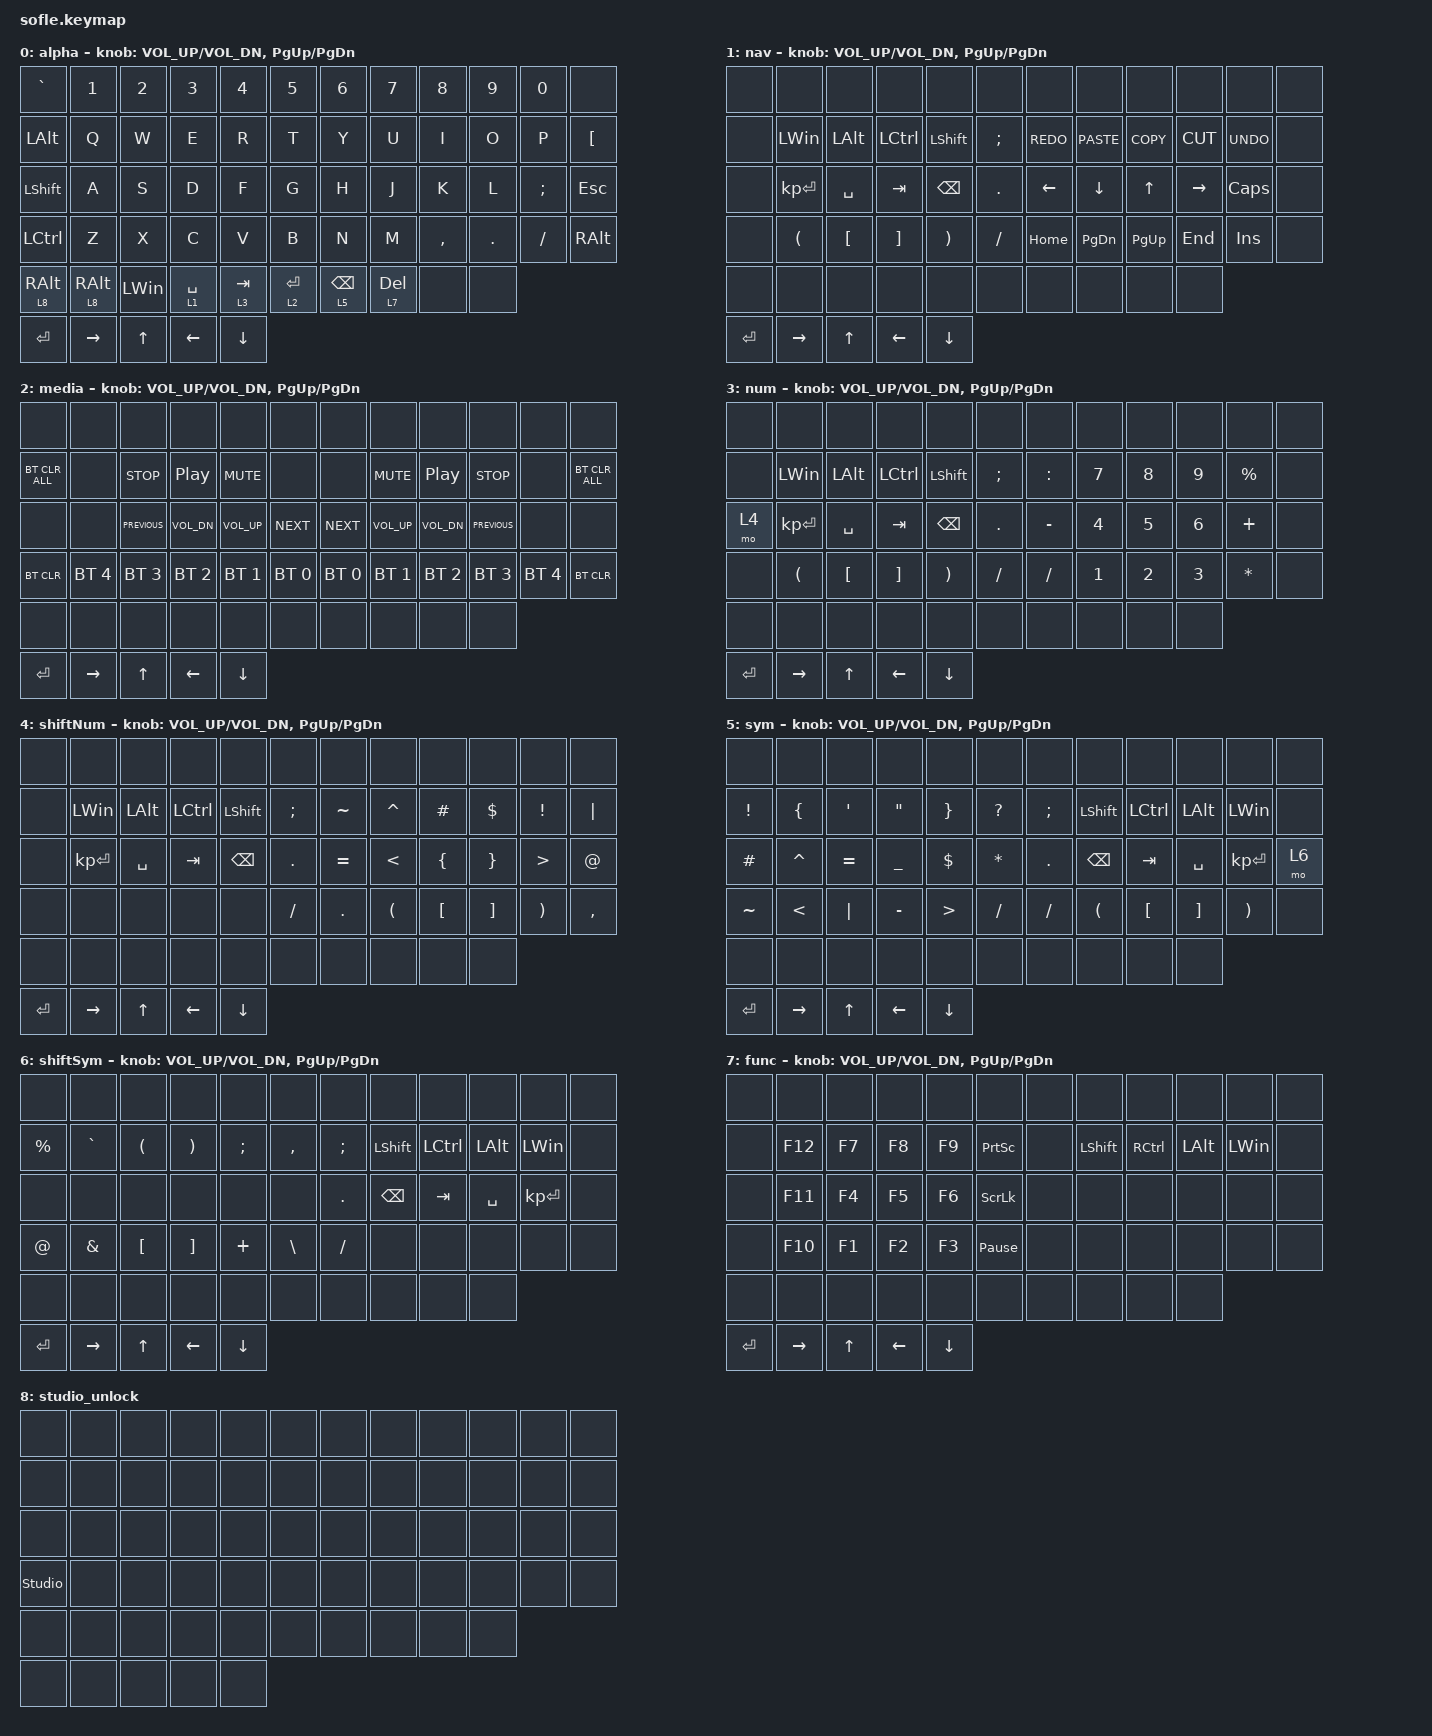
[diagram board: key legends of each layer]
/*
 * Copyright (c) 2020 The ZMK Contributors
 *
 * SPDX-License-Identifier: MIT
 */

#include <behaviors.dtsi>
#include <dt-bindings/zmk/bt.h>
#include <dt-bindings/zmk/ext_power.h>
#include <dt-bindings/zmk/keys.h>
#include <dt-bindings/zmk/rgb.h>

#define BASE 0
#define LOWER 1
#define RAISE 2
#define ADJUST 3

/ {
    // Activate ADJUST layer by pressing raise and lower

    conditional_layers {
        compatible = "zmk,conditional-layers";

        adjust_layer {
            if-layers = <LOWER RAISE>;
            then-layer = <ADJUST>;
        };
    };

    keymap {
        compatible = "zmk,keymap";

        default_layer {
            label = "alpha";

            // ------------------------------------------------------------------------------------------------------------
            // |   `   |  1  |  2  |  3   |  4   |  5   |                   |  6   |  7    |  8    |  9   |   0   |       |
            // |  ESC  |  Q  |  W  |  E   |  R   |  T   |                   |  Y   |  U    |  I    |  O   |   P   | BKSPC |
            // |  TAB  |  A  |  S  |  D   |  F   |  G   |                   |  H   |  J    |  K    |  L   |   ;   |   '   |
            // | SHIFT |  Z  |  X  |  C   |  V   |  B   |  MUTE  |  |       |  N   |  M    |  ,    |  .   |   /   | SHIFT |
            //               | GUI | ALT  | CTRL | LOWER|  ENTER |  | SPACE | RAISE| CTRL  | ALT   | GUI  |

            bindings = <
&kp GRAVE   &kp N1    &kp N2    &kp N3     &kp N4     &kp N5          &kp N6     &kp N7     &kp N8        &kp N9    &kp N0    &none
&kp LEFT_ALT    &kp Q  &kp W  &kp E         &kp R        &kp T        &kp Y        &kp U            &kp I         &kp O    &kp P     &kp LEFT_BRACKET
&kp LEFT_SHIFT  &kp A  &kp S  &kp D         &kp F        &kp G        &kp H        &kp J            &kp K         &kp L    &kp SEMI  &kp ESCAPE
&kp LCTRL       &kp Z  &kp X  &kp C         &kp V        &kp B        &kp N        &kp M            &kp COMMA     &kp DOT  &kp FSLH  &kp RIGHT_ALT
                &lt 8 RIGHT_ALT  &lt 8 RIGHT_ALT  &kp LEFT_WIN  &lt 1 SPACE  &lt 3 TAB    &lt 2 ENTER  &lt 5 BACKSPACE  &lt 7 DELETE  &none    &none
                                                                      &kp ENTER  &kp RIGHT  &kp UP_ARROW  &kp LEFT  &kp DOWN
            >;
            sensor-bindings = <&inc_dec_kp C_VOL_UP C_VOL_DN &inc_dec_kp PG_UP PG_DN>;
        };

        nav {
            label = "nav";

            // TODO: Some binds are waiting for shifted keycode support.
            // ------------------------------------------------------------------------------------------------------------
            // |       |  F1 |  F2 |  F3  |  F4  |  F5  |                   |  F6  |  F7   |  F8   |  F9  |  F10  |  F11  |
            // |   `   |  1  |  2  |  3   |  4   |  5   |                   |  6   |  7    |  8    |  9   |   0   |  F12  |
            // |       |  !  |  @  |  #   |  $   |  %   |                   |  ^   |  &    |  *    |  (   |   )   |   |   |
            // |       |  =  |  -  |  +   |  {   |  }   |        |  |       |  [   |  ]    |  ;    |  :   |   \   |       |
            //               |     |      |      |      |        |  |       |      |       |       |      |

            bindings = <
&none     &none     &none     &none    &none    &none     &none     &none    &none     &none     &none   &none
&none  &kp LEFT_WIN          &kp LEFT_ALT      &kp LCTRL          &kp LEFT_SHIFT         &kp SEMICOLON    &kp K_REDO  &kp K_PASTE     &kp K_COPY    &kp K_CUT        &kp K_UNDO    &none
&none  &kp KP_ENTER          &kp SPACE         &kp TAB            &kp BACKSPACE          &kp PERIOD       &kp LEFT    &kp DOWN_ARROW  &kp UP_ARROW  &kp RIGHT_ARROW  &kp CAPSLOCK  &none
&none  &kp LEFT_PARENTHESIS  &kp LEFT_BRACKET  &kp RIGHT_BRACKET  &kp RIGHT_PARENTHESIS  &kp SLASH        &kp HOME    &kp PAGE_DOWN   &kp PAGE_UP   &kp END          &kp INSERT    &none
&none     &none     &none     &none    &none    &none     &none     &none    &none     &none     
                                                &kp ENTER  &kp RIGHT  &kp UP_ARROW  &kp LEFT  &kp DOWN
            >;

            sensor-bindings = <&inc_dec_kp C_VOL_UP C_VOL_DN &inc_dec_kp PG_UP PG_DN>;
        };

        media {
            label = "media";

            // ------------------------------------------------------------------------------------------------------------
            // | BTCLR | BT1  | BT2  |  BT3  |  BT4  |  BT5 |                |      |      |       |      |       |       |
            // |       | INS  | PSCR | GUI   |       |      |                | PGUP |      |   ^   |      |       |       |
            // |       | ALT  | CTRL | SHIFT |       | CAPS |                | PGDN |   <- |   v   |  ->  |  DEL  | BKSPC |
            // |       | UNDO | CUT  | COPY  | PASTE |      |      |  |      |      |      |       |      |       |       |
            //                |      |       |       |      |      |  |      |      |      |       |      |

            bindings = <
&none  &none  &none &none  &none  &none  &none     &none &none &none &none &none
&bt BT_CLR_ALL  &none         &kp C_STOP      &kp C_PLAY_PAUSE  &kp C_MUTE       &none           &none         &kp C_MUTE    &kp C_PLAY_PAUSE  &kp C_STOP      &none         &bt BT_CLR_ALL
&none           &none         &kp C_PREVIOUS  &kp C_VOL_DN      &kp C_VOLUME_UP  &kp C_NEXT      &kp C_NEXT    &kp C_VOLUME_UP  &kp C_VOL_DN   &kp C_PREVIOUS  &none         &none
&bt BT_CLR      &bt BT_SEL 4  &bt BT_SEL 3    &bt BT_SEL 2      &bt BT_SEL 1     &bt BT_SEL 0    &bt BT_SEL 0  &bt BT_SEL 1  &bt BT_SEL 2      &bt BT_SEL 3    &bt BT_SEL 4  &bt BT_CLR
&none &none &none &none &none &none &none &none &none &none
                  &kp ENTER  &kp RIGHT  &kp UP_ARROW  &kp LEFT  &kp DOWN
            >;

            sensor-bindings = <&inc_dec_kp C_VOL_UP C_VOL_DN &inc_dec_kp PG_UP PG_DN>;
        };

        num {
            // ----------------------------------------------------------------------------------------------------------------------------
            // | BTCLR  |  BT1    |  BT2    |   BT3   |   BT4   |   BT5   |                  |      |      |       |      |       |       |
            // | EXTPWR | RGB_HUD | RGB_HUI | RGB_SAD | RGB_SAI | RGB_EFF |                  |      |      |       |      |       |       |
            // |        | RGB_BRD | RGB_BRI |         |         |         |                  |      |      |       |      |       |       |
            // |        |         |         |         |         |         | RGB_TOG | |      |      |      |       |      |       |       |
            //                    |         |         |         |         |         | |      |      |      |       |      |

            label = "num";
            bindings = <
&none &none &none &none &none &none &none &none &none &none &none &none
&none  &kp LEFT_WIN          &kp LEFT_ALT      &kp LCTRL          &kp LEFT_SHIFT         &kp SEMICOLON    &kp COLON  &kp NUMBER_7  &kp NUMBER_8  &kp NUMBER_9  &kp PERCENT   &none
&mo 4  &kp KP_ENTER          &kp SPACE         &kp TAB            &kp BACKSPACE          &kp PERIOD       &kp MINUS  &kp NUMBER_4  &kp NUMBER_5  &kp NUMBER_6  &kp PLUS      &none
&none  &kp LEFT_PARENTHESIS  &kp LEFT_BRACKET  &kp RIGHT_BRACKET  &kp RIGHT_PARENTHESIS  &kp SLASH        &kp SLASH  &kp NUMBER_1  &kp NUMBER_2  &kp NUMBER_3  &kp ASTERISK  &none
&none &none &none &none &none &none &none &none &none &none
&kp ENTER  &kp RIGHT  &kp UP_ARROW  &kp LEFT  &kp DOWN
            >;
            sensor-bindings = <&inc_dec_kp C_VOL_UP C_VOL_DN &inc_dec_kp PG_UP PG_DN>;
        };
        shiftNum {
            bindings = <
&none &none &none &none &none &none &none &none &none &none &none &none
&none  &kp LEFT_WIN  &kp LEFT_ALT  &kp LCTRL  &kp LEFT_SHIFT  &kp SEMICOLON    &kp TILDE   &kp CARET             &kp HASH          &kp DOLLAR         &kp EXCLAMATION        &kp PIPE
&none  &kp KP_ENTER  &kp SPACE     &kp TAB    &kp BACKSPACE   &kp PERIOD       &kp EQUAL   &kp LESS_THAN         &kp LEFT_BRACE    &kp RIGHT_BRACE    &kp GREATER_THAN       &kp AT_SIGN
&none  &none         &none         &none      &none           &kp SLASH        &kp PERIOD  &kp LEFT_PARENTHESIS  &kp LEFT_BRACKET  &kp RIGHT_BRACKET  &kp RIGHT_PARENTHESIS  &kp COMMA
&none &none &none &none &none &none &none &none &none &none
&kp ENTER  &kp RIGHT  &kp UP_ARROW  &kp LEFT  &kp DOWN
            >;
            sensor-bindings = <&inc_dec_kp C_VOL_UP C_VOL_DN &inc_dec_kp PG_UP PG_DN>;
        };

        sym {
            bindings = <
&none &none &none &none &none &none &none &none &none &none &none &none
&kp EXCLAMATION  &kp LEFT_BRACE  &kp SQT    &kp DOUBLE_QUOTES  &kp RIGHT_BRACE   &kp QUESTION    &kp SEMICOLON  &kp LEFT_SHIFT        &kp LCTRL         &kp LEFT_ALT       &kp LEFT_WIN           &none
&kp HASH         &kp CARET       &kp EQUAL  &kp UNDERSCORE     &kp DOLLAR        &kp ASTERISK    &kp PERIOD     &kp BACKSPACE         &kp TAB           &kp SPACE          &kp KP_ENTER           &mo 6
&kp TILDE        &kp LESS_THAN   &kp PIPE   &kp MINUS          &kp GREATER_THAN  &kp SLASH       &kp SLASH      &kp LEFT_PARENTHESIS  &kp LEFT_BRACKET  &kp RIGHT_BRACKET  &kp RIGHT_PARENTHESIS  &none
&none &none &none &none &none &none &none &none &none &none
&kp ENTER  &kp RIGHT  &kp UP_ARROW  &kp LEFT  &kp DOWN
            >;
            sensor-bindings = <&inc_dec_kp C_VOL_UP C_VOL_DN &inc_dec_kp PG_UP PG_DN>;
        };

        shiftSym {
            bindings = <
&none &none &none &none &none &none &none &none &none &none &none &none
&kp PERCENT  &kp GRAVE      &kp LEFT_PARENTHESIS  &kp RIGHT_PARENTHESIS  &kp SEMICOLON  &kp COMMA        &kp SEMICOLON  &kp LEFT_SHIFT  &kp LCTRL  &kp LEFT_ALT  &kp LEFT_WIN  &none
&none        &none          &none                 &none                  &none          &none            &kp PERIOD     &kp BACKSPACE   &kp TAB    &kp SPACE     &kp KP_ENTER  &none
&kp AT_SIGN  &kp AMPERSAND  &kp LEFT_BRACKET      &kp RIGHT_BRACKET      &kp PLUS       &kp BACKSLASH    &kp SLASH      &none           &none      &none         &none         &none
&none &none &none &none &none &none &none &none &none &none
&kp ENTER  &kp RIGHT  &kp UP_ARROW  &kp LEFT  &kp DOWN
            >;
            sensor-bindings = <&inc_dec_kp C_VOL_UP C_VOL_DN &inc_dec_kp PG_UP PG_DN>;

        };

        func {
            bindings = <
&none &none &none &none &none &none &none &none &none &none &none &none
&none  &kp F12  &kp F7  &kp F8  &kp F9  &kp PRINTSCREEN    &none  &kp LEFT_SHIFT  &kp RCTRL  &kp LEFT_ALT  &kp LEFT_WIN  &none
&none  &kp F11  &kp F4  &kp F5  &kp F6  &kp SCROLLLOCK     &none  &none           &none      &none         &none         &none
&none  &kp F10  &kp F1  &kp F2  &kp F3  &kp PAUSE_BREAK    &none  &none           &none      &none         &none         &none
&none &none &none &none &none &none &none &none &none &none
&kp ENTER  &kp RIGHT  &kp UP_ARROW  &kp LEFT  &kp DOWN
            >;
            sensor-bindings = <&inc_dec_kp C_VOL_UP C_VOL_DN &inc_dec_kp PG_UP PG_DN>;
        };
        studio_unlock {
            bindings = <
&none &none &none &none &none &none &none &none &none &none &none &none
&none &none &none &none &none &none &none &none &none &none &none &none
&none &none &none &none &none &none &none &none &none &none &none &none
&studio_unlock &none &none &none &none &none &none &none &none &none &none &none
&none &none &none &none &none &none &none &none &none &none
&none &none &none &none &none
            >;
        };
    };
};
